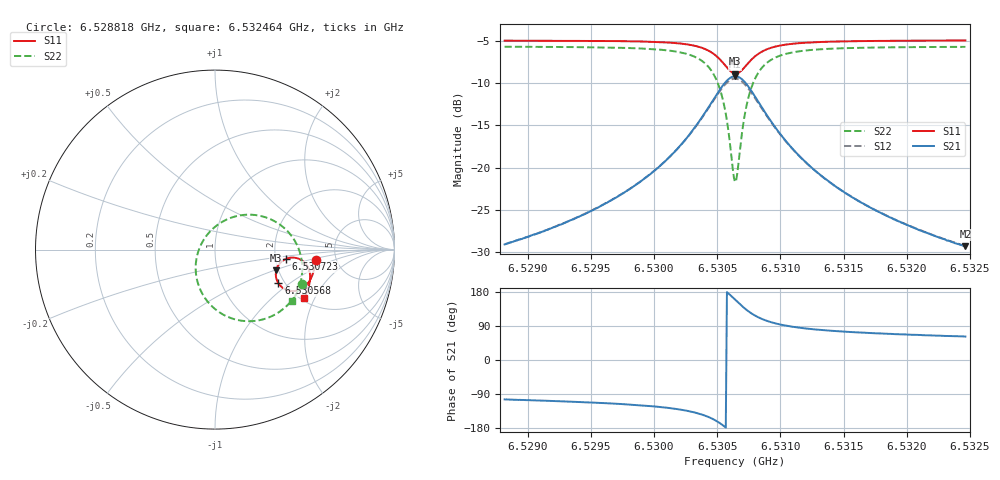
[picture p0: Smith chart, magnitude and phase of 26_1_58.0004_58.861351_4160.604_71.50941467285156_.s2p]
#  HZ  S  RI  R  50.00
! Rohde & Schwarz Vector Network Analyzer
! Rohde-Schwarz,ZNB20-2Port,1311601062101988,3.16
! Created: UTC 3/21/2024, 12:51:23 AM
! freq[Hz]  re:S11  im:S11  re:S21  im:S21  re:S12  im:S12  re:S22  im:S22
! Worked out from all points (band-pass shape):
!   401 points, 6.528818 GHz to 6.532464 GHz, reference 50 ohm
!   highest |S21| = -9.18 dB at 6.530641 GHz (marker M1); lowest = -29.3 dB at 6.532464 GHz (marker M2)
!   |S21| within 3 dB of the highest: 6.53046 GHz to 6.530825 GHz (365 kHz wide, 0.00559 % of centre)
!   lowest |S11| = -8.9 dB at 6.530641 GHz (marker M3), VSWR 2.13, Z = 97.4 - j25.6 ohm
!   |S11| at or under -10 dB: nowhere
!   |S22| runs from -21.7 to -5.7 dB; largest |S21 - S12| = 0.015
!   S11 on the Smith chart (normalised r, x): 6.528818 GHz: 3.47, -0.60; 6.530568 GHz: 1.85, -0.82; 6.530723 GHz: 2.28, -0.28; 6.532464 GHz: 2.09, -1.66
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6.5288178e9  0.5609 -0.0589  -0.0085 -0.0341  -0.0093 -0.034  0.4822 -0.1921
6.5294286e9  0.5514 -0.1121  -0.0188 -0.0488  -0.0201 -0.0484  0.4493 -0.2538
6.5297659e9  0.5407 -0.1459  -0.0322 -0.0636  -0.0338 -0.0631  0.4148 -0.2984
6.5300394e9  0.5238 -0.1786  -0.0561 -0.0841  -0.0587 -0.0825  0.3604 -0.3458
6.5302582e9  0.4934 -0.2108  -0.1035 -0.1079  -0.1069 -0.1041  0.265 -0.3894
6.5304131e9  0.4435 -0.2305  -0.1837 -0.1149  -0.1864 -0.1066  0.118 -0.3904
6.5305043e9  0.3917 -0.2215  -0.2649 -0.0813  -0.2633 -0.0694  -0.0161 -0.3167
6.5305408e9  0.3683 -0.2055  -0.3001 -0.0465  -0.2948 -0.034  -0.0679 -0.2507
6.5305681e9  0.3528 -0.1866  -0.3217 -0.00948  -0.3134 0.00234  -0.0962 -0.1843
6.5306228e9  0.3389 -0.1338  -0.3342 0.0874  -0.321 0.0939  -0.0968 -0.0221
6.530641e9  0.3415 -0.1143  -0.3255 0.1215  -0.3118 0.1258  -0.0759 0.032
6.5306593e9  0.3484 -0.0959  -0.3102 0.1534  -0.2967 0.155  -0.0448 0.081
6.5306957e9  0.3717 -0.0661  -0.2646 0.2034  -0.253 0.2011  0.0395 0.1542
6.5307231e9  0.3942 -0.0521  -0.2236 0.226  -0.2145 0.2221  0.1109 0.1843
6.5307504e9  0.4171 -0.0455  -0.1831 0.2366  -0.1762 0.2321  0.1802 0.1947
6.5307869e9  0.4447 -0.0452  -0.1352 0.2367  -0.1306 0.2324  0.2608 0.1859
6.5308781e9  0.4914 -0.0654  -0.0557 0.2053  -0.0538 0.203  0.3907 0.1159
6.5310148e9  0.5202 -0.1032  -0.00671 0.1526  -0.00557 0.1517  0.4644 0.00871
6.5312518e9  0.5303 -0.1503  0.0149 0.0984  0.016 0.098  0.4866 -0.1038
6.5315253e9  0.5269 -0.1866  0.0186 0.0675  0.0197 0.0673  0.4787 -0.1743
6.5318626e9  0.5177 -0.2206  0.0182 0.0476  0.0192 0.0474  0.462 -0.2274
6.5324643e9  0.4971 -0.2696  0.0162 0.0303  0.0168 0.03  0.4307 -0.2883
